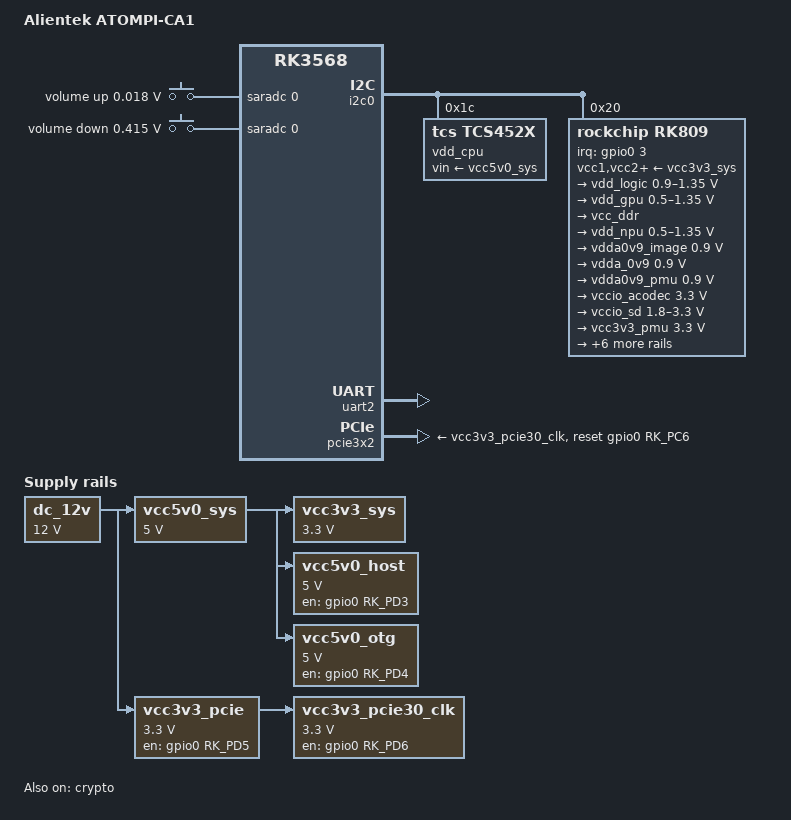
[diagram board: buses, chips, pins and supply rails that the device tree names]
/*
 * SPDX-License-Identifier:     GPL-2.0+
 *
 * (C) Copyright 2020 Rockchip Electronics Co., Ltd
 */

/dts-v1/;
#include "rk3568.dtsi"
#include "rk3568-u-boot-atompi.dtsi"
#include <dt-bindings/input/input.h>

/ {
	model = "Alientek ATOMPI-CA1";
	compatible = "alientek,atompi-ca1", "rockchip,rk3568";

	dc_12v: dc-12v {
		compatible = "regulator-fixed";
		regulator-name = "dc_12v";
		regulator-always-on;
		regulator-boot-on;
		regulator-min-microvolt = <12000000>;
		regulator-max-microvolt = <12000000>;
	};

	vcc5v0_sys: vcc5v0-sys {
		compatible = "regulator-fixed";
		regulator-name = "vcc5v0_sys";
		regulator-always-on;
		regulator-boot-on;
		regulator-min-microvolt = <5000000>;
		regulator-max-microvolt = <5000000>;
		vin-supply = <&dc_12v>;
	};
    
    vcc3v3_sys: vcc3v3-sys {
		compatible = "regulator-fixed";
		regulator-name = "vcc3v3_sys";
		regulator-always-on;
		regulator-boot-on;
		regulator-min-microvolt = <3300000>;
		regulator-max-microvolt = <3300000>;
		vin-supply = <&vcc5v0_sys>;
	};

    vcc5v0_host: vcc5v0-host-regulator {
		compatible = "regulator-fixed";
		regulator-name = "vcc5v0_host";
		regulator-boot-on;
		regulator-always-on;
		regulator-min-microvolt = <5000000>;
		regulator-max-microvolt = <5000000>;
		enable-active-high;
		gpio = <&gpio0 RK_PD3 GPIO_ACTIVE_HIGH>;
		vin-supply = <&vcc5v0_sys>;
		pinctrl-names = "default";
		pinctrl-0 = <&vcc5v0_host_en>;
	};

    vcc5v0_otg: vcc5v0-otg-regulator {
		compatible = "regulator-fixed";
		regulator-name = "vcc5v0_otg";
		regulator-min-microvolt = <5000000>;
		regulator-max-microvolt = <5000000>;
		enable-active-high;
		gpio = <&gpio0 RK_PD4 GPIO_ACTIVE_HIGH>;
		vin-supply = <&vcc5v0_sys>;
		pinctrl-names = "default";
		pinctrl-0 = <&vcc5v0_otg_en>;
	};

    vcc3v3_pcie: vcc3v3-pcie-regulator {
		compatible = "regulator-fixed";
		regulator-name = "vcc3v3_pcie";
		regulator-min-microvolt = <3300000>;
		regulator-max-microvolt = <3300000>;
		regulator-boot-on;
		//regulator-always-on;
		enable-active-high;
		gpio = <&gpio0 RK_PD5 GPIO_ACTIVE_HIGH>;
		vin-supply = <&dc_12v>;
		pinctrl-names = "default";
		pinctrl-0 = <&vcc3v3_pcie_en>;
	};

    vcc3v3_pcie30_clk: vcc3v3-pcie30-clk-regulator {
		compatible = "regulator-fixed";
		regulator-name = "vcc3v3_pcie30_clk";
		regulator-min-microvolt = <3300000>;
		regulator-max-microvolt = <3300000>;
		enable-active-high;
		regulator-boot-on;
		//regulator-always-on;
		gpio = <&gpio0 RK_PD6 GPIO_ACTIVE_HIGH>;
		pinctrl-names = "default";
		pinctrl-0 = <&vcc3v3_pcie30_clk_en>;
		vin-supply = <&vcc3v3_pcie>;
	};

	adc-keys {
		compatible = "adc-keys";
		io-channels = <&saradc 0>;
		io-channel-names = "buttons";
		keyup-threshold-microvolt = <1800000>;
		u-boot,dm-spl;
		status = "okay";

		volumeup-key {
			u-boot,dm-spl;
			linux,code = <KEY_VOLUMEUP>;
			label = "volume up";
			press-threshold-microvolt = <17822>;
		};

		volumedown-key {
			u-boot,dm-spl;
			label = "volume down";
			linux,code = <KEY_VOLUMEDOWN>;
			press-threshold-microvolt = <415385>;
		};
	};
};

&i2c0 {
	status = "okay";

	vdd_cpu: tcs4525@1c {
		compatible = "tcs,tcs452x";
		reg = <0x1c>;
		vin-supply = <&vcc5v0_sys>;
		regulator-compatible = "fan53555-reg";
		regulator-name = "vdd_cpu";
		regulator-min-microvolt = <712500>;
		regulator-max-microvolt = <1390000>;
		regulator-init-microvolt = <900000>;
		regulator-ramp-delay = <2300>;
		fcs,suspend-voltage-selector = <1>;
		regulator-boot-on;
		regulator-always-on;
		regulator-state-mem {
			regulator-off-in-suspend;
		};
	};

	rk809: pmic@20 {
		compatible = "rockchip,rk809";
		reg = <0x20>;
		interrupt-parent = <&gpio0>;
		interrupts = <3 IRQ_TYPE_LEVEL_LOW>;

		pinctrl-names = "default", "pmic-sleep",
				"pmic-power-off", "pmic-reset";
		pinctrl-0 = <&pmic_int>;
		pinctrl-1 = <&soc_slppin_slp>, <&rk817_slppin_slp>;
		pinctrl-2 = <&soc_slppin_gpio>, <&rk817_slppin_pwrdn>;
		pinctrl-3 = <&soc_slppin_gpio>, <&rk817_slppin_rst>;

		rockchip,system-power-controller;
		wakeup-source;
		#clock-cells = <1>;
		clock-output-names = "rk808-clkout1", "rk808-clkout2";
		//fb-inner-reg-idxs = <2>;
		/* 1: rst regs (default in codes), 0: rst the pmic */
		pmic-reset-func = <0>;
		/* not save the PMIC_POWER_EN register in uboot */
		not-save-power-en = <1>;

		vcc1-supply = <&vcc3v3_sys>;
		vcc2-supply = <&vcc3v3_sys>;
		vcc3-supply = <&vcc3v3_sys>;
		vcc4-supply = <&vcc3v3_sys>;
		vcc5-supply = <&vcc3v3_sys>;
		vcc6-supply = <&vcc3v3_sys>;
		vcc7-supply = <&vcc3v3_sys>;
		vcc8-supply = <&vcc3v3_sys>;
		vcc9-supply = <&vcc3v3_sys>;

		pwrkey {
			status = "okay";
		};

		pinctrl_rk8xx: pinctrl_rk8xx {
			gpio-controller;
			#gpio-cells = <2>;

			rk817_slppin_null: rk817_slppin_null {
				pins = "gpio_slp";
				function = "pin_fun0";
			};

			rk817_slppin_slp: rk817_slppin_slp {
				pins = "gpio_slp";
				function = "pin_fun1";
			};

			rk817_slppin_pwrdn: rk817_slppin_pwrdn {
				pins = "gpio_slp";
				function = "pin_fun2";
			};

			rk817_slppin_rst: rk817_slppin_rst {
				pins = "gpio_slp";
				function = "pin_fun3";
			};
		};

		regulators {
			vdd_logic: DCDC_REG1 {
				regulator-always-on;
				regulator-boot-on;
				regulator-min-microvolt = <900000>;
				regulator-max-microvolt = <1350000>;
				regulator-init-microvolt = <900000>;
				regulator-ramp-delay = <6001>;
				regulator-initial-mode = <0x2>;
				regulator-name = "vdd_logic";
				regulator-state-mem {
					regulator-off-in-suspend;
				};
			};

			vdd_gpu: DCDC_REG2 {
				regulator-always-on;
				regulator-boot-on;
				regulator-min-microvolt = <500000>;
				regulator-max-microvolt = <1350000>;
				regulator-init-microvolt = <900000>;
				regulator-ramp-delay = <6001>;
				regulator-initial-mode = <0x2>;
				regulator-name = "vdd_gpu";
				regulator-state-mem {
					regulator-off-in-suspend;
				};
			};

			vcc_ddr: DCDC_REG3 {
				regulator-always-on;
				regulator-boot-on;
				regulator-initial-mode = <0x2>;
				regulator-name = "vcc_ddr";
				regulator-state-mem {
					regulator-on-in-suspend;
				};
			};

			vdd_npu: DCDC_REG4 {
				regulator-always-on;
				regulator-boot-on;
				regulator-min-microvolt = <500000>;
				regulator-max-microvolt = <1350000>;
				regulator-init-microvolt = <900000>;
				regulator-ramp-delay = <6001>;
				regulator-initial-mode = <0x2>;
				regulator-name = "vdd_npu";
				regulator-state-mem {
					regulator-off-in-suspend;
				};
			};

			vdda0v9_image: LDO_REG1 {
				regulator-boot-on;
				regulator-always-on;
				regulator-min-microvolt = <900000>;
				regulator-max-microvolt = <900000>;
				regulator-name = "vdda0v9_image";
				regulator-state-mem {
					regulator-off-in-suspend;
				};
			};

			vdda_0v9: LDO_REG2 {
				regulator-always-on;
				regulator-boot-on;
				regulator-min-microvolt = <900000>;
				regulator-max-microvolt = <900000>;
				regulator-name = "vdda_0v9";
				regulator-state-mem {
					regulator-off-in-suspend;
				};
			};

			vdda0v9_pmu: LDO_REG3 {
				regulator-always-on;
				regulator-boot-on;
				regulator-min-microvolt = <900000>;
				regulator-max-microvolt = <900000>;
				regulator-name = "vdda0v9_pmu";
				regulator-state-mem {
					regulator-on-in-suspend;
					regulator-suspend-microvolt = <900000>;
				};
			};

			vccio_acodec: LDO_REG4 {
				regulator-always-on;
				regulator-boot-on;
				regulator-min-microvolt = <3300000>;
				regulator-max-microvolt = <3300000>;
				regulator-name = "vccio_acodec";
				regulator-state-mem {
					regulator-off-in-suspend;
				};
			};

			vccio_sd: LDO_REG5 {
				regulator-always-on;
				regulator-boot-on;
				regulator-min-microvolt = <1800000>;
				regulator-max-microvolt = <3300000>;
				regulator-name = "vccio_sd";
				regulator-state-mem {
					regulator-off-in-suspend;
				};
			};

			vcc3v3_pmu: LDO_REG6 {
				regulator-always-on;
				regulator-boot-on;
				regulator-min-microvolt = <3300000>;
				regulator-max-microvolt = <3300000>;
				regulator-name = "vcc3v3_pmu";
				regulator-state-mem {
					regulator-on-in-suspend;
					regulator-suspend-microvolt = <3300000>;
				};
			};

			vcca_1v8: LDO_REG7 {
				regulator-always-on;
				regulator-boot-on;
				regulator-min-microvolt = <1800000>;
				regulator-max-microvolt = <1800000>;
				regulator-name = "vcca_1v8";
				regulator-state-mem {
					regulator-off-in-suspend;
				};
			};

			vcca1v8_pmu: LDO_REG8 {
				regulator-always-on;
				regulator-boot-on;
				regulator-min-microvolt = <1800000>;
				regulator-max-microvolt = <1800000>;
				regulator-name = "vcca1v8_pmu";
				regulator-state-mem {
					regulator-on-in-suspend;
					regulator-suspend-microvolt = <1800000>;
				};
			};

			vcca1v8_image: LDO_REG9 {
				regulator-always-on;
				regulator-boot-on;
				regulator-min-microvolt = <1800000>;
				regulator-max-microvolt = <1800000>;
				regulator-name = "vcca1v8_image";
				regulator-state-mem {
					regulator-off-in-suspend;
				};
			};

			vcc_1v8: DCDC_REG5 {
				regulator-always-on;
				regulator-boot-on;
				regulator-min-microvolt = <1800000>;
				regulator-max-microvolt = <1800000>;
				regulator-name = "vcc_1v8";
				regulator-state-mem {
					regulator-off-in-suspend;
				};
			};

			vcc_3v3: SWITCH_REG1 {
				regulator-always-on;
				regulator-boot-on;
				regulator-name = "vcc_3v3";
				regulator-state-mem {
					regulator-off-in-suspend;
				};
			};

			vcc3v3_sd: SWITCH_REG2 {
				regulator-always-on;
				regulator-boot-on;
				regulator-name = "vcc3v3_sd";
				regulator-state-mem {
					regulator-off-in-suspend;
				};
			};
		};
	};
};

&pmu_io_domains {
	status = "okay";
	pmuio2-supply = <&vcc3v3_pmu>;
	vccio1-supply = <&vccio_acodec>;
	vccio3-supply = <&vccio_sd>;
	vccio4-supply = <&vcc_1v8>;
	vccio5-supply = <&vcc_3v3>;
	vccio6-supply = <&vcc_1v8>;
	vccio7-supply = <&vcc_3v3>;
};

&pinctrl {

	pmic {
		pmic_int: pmic_int {
			rockchip,pins =
				<0 RK_PA3 RK_FUNC_GPIO &pcfg_pull_up>;
		};

		soc_slppin_gpio: soc_slppin_gpio {
			rockchip,pins =
				<0 RK_PA2 RK_FUNC_GPIO &pcfg_output_low_pull_down>;
		};

		soc_slppin_slp: soc_slppin_slp {
			rockchip,pins =
				<0 RK_PA2 1 &pcfg_pull_up>;
		};

		soc_slppin_rst: soc_slppin_rst {
			rockchip,pins =
				<0 RK_PA2 2 &pcfg_pull_none>;
		};
	};

	usb {
		vcc5v0_host_en: vcc5v0-host-en {
			rockchip,pins = <0 RK_PD3 RK_FUNC_GPIO &pcfg_pull_none>;
		};

		vcc5v0_otg_en: vcc5v0-otg-en {
			rockchip,pins = <0 RK_PD4 RK_FUNC_GPIO &pcfg_pull_none>;
		};
	};

    pcie {
        vcc3v3_pcie_en: vcc3v3-pcie-en {
			rockchip,pins = <0 RK_PD5 RK_FUNC_GPIO &pcfg_pull_none>;

		};

        vcc3v3_pcie30_clk_en: vcc3v3-pcie30-clk-en {
			rockchip,pins = <0 RK_PD6 RK_FUNC_GPIO &pcfg_pull_none>;
		};

        vcc3v3_pcie20_wifi_en: vcc3v3-pcie20-wifi-en {
			rockchip,pins = <3 RK_PA2 RK_FUNC_GPIO &pcfg_pull_none>;
		};

		wifi_regon_pin: wifi-regon-pin {
			rockchip,pins = <0 RK_PC0 RK_FUNC_GPIO &pcfg_output_high>;
		};
    };
};

&crypto {
	status = "okay";
};

&uart2 {
	status = "okay";
};

&pcie3x2 {
	//pinctrl-names = "default";
	//pinctrl-0 = <&pcie30x2m0_pins>;
	reset-gpios = <&gpio0 RK_PC6 GPIO_ACTIVE_HIGH>;
	vpcie3v3-supply = <&vcc3v3_pcie30_clk>;
	status = "okay";
};
